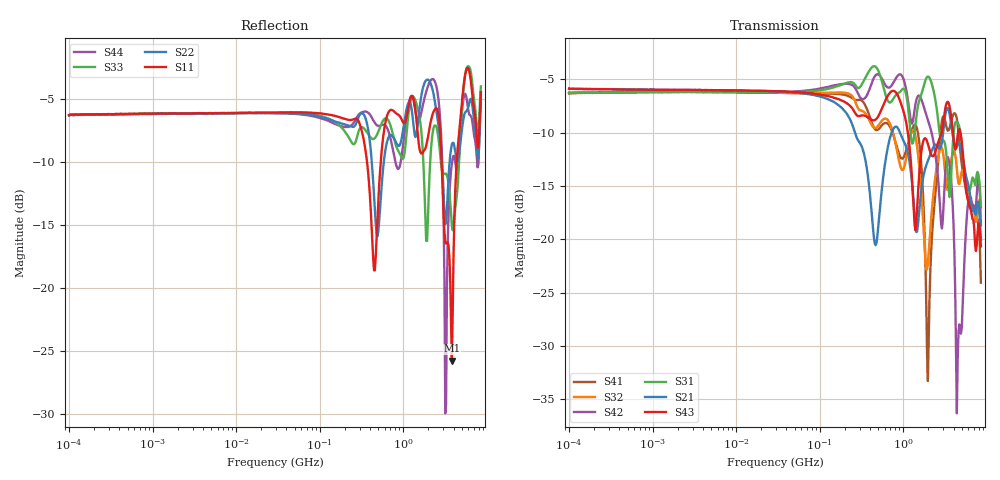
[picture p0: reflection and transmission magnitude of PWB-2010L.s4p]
# MHz S MA R 50
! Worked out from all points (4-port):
!   498 points, 100 kHz to 8.5 GHz, reference 50 ohm
!   strongest paths, dB at 100 kHz, 1.698 MHz, 29.49 MHz, 500.7 MHz, 8.5 GHz:
!     S43: -5.9, -6.0, -6.1, -8.5, -20.7
!     S21: -5.9, -6.0, -6.1, -18.9, -20.0
!     S31: -6.3, -6.2, -6.2, -4.2, -16.9
!     S42: -6.2, -6.2, -6.2, -4.5, -18.7
!     S32: -6.3, -6.2, -6.3, -9.3, -17.0
!     S41: -6.3, -6.2, -6.2, -9.7, -24.0
!   lowest |S11| = -25.7 dB at 3.822 GHz (marker M1), VSWR 1.11, Z = 50.1 + j5.17 ohm
!   |S11| at or under -10 dB: 369 MHz to 537.3 MHz (168.3 MHz wide, 37.1 % of centre); 2.882 GHz to 4.361 GHz (1.479 GHz wide, 40.8 % of centre)
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0.1  0.4875 2.4  0.5093 -2.4  0.4847 2.6  0.4836 -177.5
     0.5093 -2.4  0.4855 2.7  0.4855 -177.8  0.4875 2.1
     0.4847 2.6  0.4855 -177.8  0.4871 2.1  0.5088 -2.4
     0.4836 -177.5  0.4875 2.1  0.5088 -2.4  0.4868 2.4
1399.167  0.5082 -152.9  0.1146 120.3  0.3468 -122.4  0.3442 -68.3
          0.1146 120.3  0.3989 -123.7  0.3037 -77.4  0.4294 -152.5
          0.3468 -122.4  0.3037 -77.4  0.556 -148.1  0.1105 88.1
          0.3442 -68.3  0.4294 -152.5  0.1105 88.1  0.5054 -135.2
1970.81  0.396 -148.1  0.2334 -98.2  0.5794 165.1  0.02172 -135.3
         0.2334 -98.2  0.6737 -158.7  0.07654 -128.7  0.3629 125.7
         0.5794 165.1  0.07654 -128.7  0.1841 -134.7  0.2807 -123.9
         0.02172 -135.3  0.3629 125.7  0.2807 -123.9  0.6329 -154.6
3821.877  0.05164 86.1  0.3272 16.6  0.2337 18.6  0.3682 27.5
          0.3272 16.6  0.3728 52.3  0.2439 34.8  0.1686 -82.8
          0.2337 18.6  0.2439 34.8  0.1772 66.5  0.3525 12.2
          0.3682 27.5  0.1686 -82.8  0.3525 12.2  0.3138 72.4
4484.409  0.3607 45.0  0.2778 -43.4  0.3523 -72.2  0.344 -69.6
          0.2778 -43.4  0.3185 -21.2  0.195 -50.5  0.02746 -99.9
          0.3523 -72.2  0.195 -50.5  0.254 30.3  0.3077 -39.2
          0.344 -69.6  0.02746 -99.9  0.3077 -39.2  0.2834 -7.2
6920.76  0.5335 -166.6  0.1395 72.7  0.1927 45.5  0.1415 54.9
         0.1395 72.7  0.4891 -158.2  0.1442 75.6  0.1448 87.0
         0.1927 45.5  0.1442 75.6  0.5885 -164.6  0.123 76.4
         0.1415 54.9  0.1448 87.0  0.123 76.4  0.4254 -154.3
8500  0.6012 -31.7  0.09954 -122.6  0.1435 -123.9  0.06274 -142.8
      0.09954 -122.6  0.5505 -30.7  0.1411 -96.3  0.1163 -110.2
      0.1435 -123.9  0.1411 -96.3  0.6333 -32.8  0.09278 -93.5
      0.06274 -142.8  0.1163 -110.2  0.09278 -93.5  0.5993 -29.1
